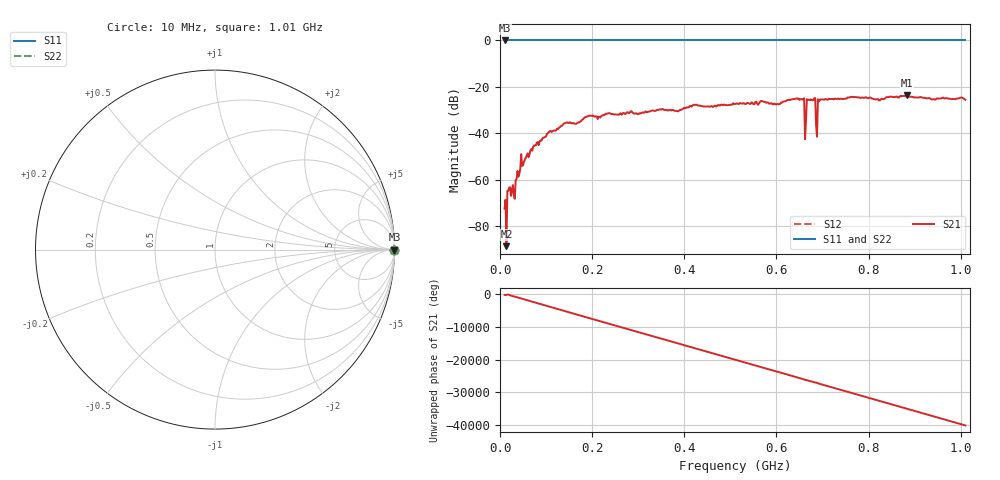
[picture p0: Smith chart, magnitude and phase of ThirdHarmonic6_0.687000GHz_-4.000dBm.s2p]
! 8/15/2025 10:55:23 PM
! C:\ANRITSUVNA\TEMP\TEMP.S2P
! CHANNEL.1
! TR.MEASUREMENT
! RAW.DATA
! RF.CORRECTION.OFF
! AVERAGING.OFF
! IF.BANDWIDTH: 5KHZ
! SWEEPTYPE:  FREQ.SWEEP(Linear)
! Reference Plane Port Info
! PORT:  PORT1  PORT2
! DISTANCE:  0  m  0  m
! TIME:  0  s  0  s
! PHASE.OFFSET:  0  deg.  0  deg.
! LOSS:  0  dB  0  dB
! REF.LOSS:  0  dB  0  dB
! REF.FREQ:  0  Hz  0  Hz
! Power Info
! POWER:  -20  dBm  -20  dBm
! EFF.POWER:  -20  dBm  -20  dBm
! SOURCE.ATTEN:  0  dB  0  dB
! TEST.ATTEN:  0  dB  0  dB
# GHZ S RI R 50.0
! FREQ.GHZ  S11RE  S11IM  S21RE  S21IM  S12RE  S12IM  S22RE  S22IM
!; PortSelection: Port_12
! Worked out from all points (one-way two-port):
!   501 points, 10 MHz to 1.01 GHz, reference 50 ohm
!   highest |S21| = -23.71 dB at 884 MHz (marker M1); lowest = -88.6 dB at 14 MHz (marker M2)
!   lowest |S11| = 0.0 dB at 10 MHz (marker M3)
!   |S11| at or under -10 dB: nowhere
!   |S22| runs from 0.0 to 0.0 dB; largest |S21 - S12| = 1.1
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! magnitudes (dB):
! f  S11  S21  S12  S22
! 10 MHz  0.0  -72.4  0.0  0.0
! 14 MHz  0.0  -88.6  0.0  0.0
! 20 MHz  0.0  -63.3  0.0  0.0
! 28 MHz  0.0  -62.3  0.0  0.0
! 48 MHz  0.0  -54.0  0.0  0.0
! 76 MHz  0.0  -45.2  0.0  0.0
! 142 MHz  0.0  -35.5  0.0  0.0
! 178 MHz  0.0  -34.2  0.0  0.0
! 344 MHz  0.0  -29.9  0.0  0.0
! 510 MHz  0.0  -27.4  0.0  0.0
! 656 MHz  0.0  -25.3  0.0  0.0
! 660 MHz  0.0  -24.9  0.0  0.0
! 666 MHz  0.0  -25.3  0.0  0.0
! 670 MHz  0.0  -25.5  0.0  0.0
! 678 MHz  0.0  -25.8  0.0  0.0
! 680 MHz  0.0  -25.7  0.0  0.0
! 684 MHz  0.0  -24.8  0.0  0.0
! 690 MHz  0.0  -25.3  0.0  0.0
! 694 MHz  0.0  -25.5  0.0  0.0
! 844 MHz  0.0  -24.4  0.0  0.0
! 884 MHz  0.0  -23.7  0.0  0.0
! 1.01 GHz  0.0  -25.5  0.0  0.0
